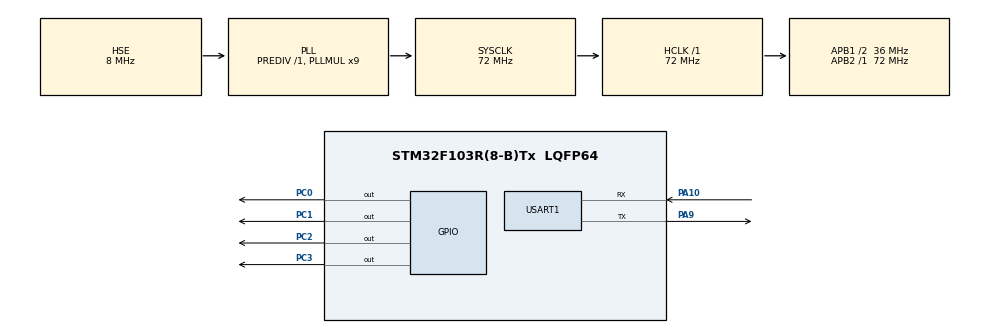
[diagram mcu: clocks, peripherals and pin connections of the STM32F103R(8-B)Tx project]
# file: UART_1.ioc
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Mcu.Family=STM32F1
Mcu.Name=STM32F103R(8-B)Tx
Mcu.Package=LQFP64
NVIC.PriorityGroup=NVIC_PRIORITYGROUP_4
NVIC.USART1_IRQn=true\:0\:0\:false\:false\:true\:true\:true\:true
PA10.Mode=Asynchronous
PA10.Signal=USART1_RX
PA13.Mode=Serial_Wire
PA13.Signal=SYS_JTMS-SWDIO
PA14.Mode=Serial_Wire
PA14.Signal=SYS_JTCK-SWCLK
PA9.Mode=Asynchronous
PA9.Signal=USART1_TX
PC0.PinState=GPIO_PIN_SET
PC0.Signal=GPIO_Output
PC1.PinState=GPIO_PIN_SET
PC1.Signal=GPIO_Output
PC2.PinState=GPIO_PIN_SET
PC2.Signal=GPIO_Output
PC3.PinState=GPIO_PIN_SET
PC3.Signal=GPIO_Output
PD0-OSC_IN.Mode=HSE-External-Oscillator
PD0-OSC_IN.Signal=RCC_OSC_IN
PD1-OSC_OUT.Mode=HSE-External-Oscillator
PD1-OSC_OUT.Signal=RCC_OSC_OUT
ProjectManager.HeapSize=0x200
ProjectManager.StackSize=0x400
ProjectManager.TargetToolchain=MDK-ARM V5.32
RCC.AHBFreq_Value=72000000
RCC.APB1CLKDivider=RCC_HCLK_DIV2
RCC.APB1Freq_Value=36000000
RCC.APB1TimFreq_Value=72000000
RCC.APB2Freq_Value=72000000
RCC.APB2TimFreq_Value=72000000
RCC.HCLKFreq_Value=72000000
RCC.PLLMUL=RCC_PLL_MUL9
RCC.PLLSourceVirtual=RCC_PLLSOURCE_HSE
RCC.SYSCLKFreq_VALUE=72000000
RCC.SYSCLKSource=RCC_SYSCLKSOURCE_PLLCLK
RCC.USBFreq_Value=72000000
USART1.VirtualMode=VM_ASYNC
board=custom

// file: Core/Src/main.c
/* USER CODE BEGIN Header */
/**
  ******************************************************************************
  * @file           : main.c
  * @brief          : Main program body
  ******************************************************************************
  * @attention
  *
  * Copyright (c) 2023 STMicroelectronics.
  * All rights reserved.
  *
  * This software is licensed under terms that can be found in the LICENSE file
  * in the root directory of this software component.
  * If no LICENSE file comes with this software, it is provided AS-IS.
  *
  ******************************************************************************
  */
/* USER CODE END Header */
#include "main.h"
#include "usart.h"
#include "gpio.h"
#include "stdio.h"
/* USER CODE BEGIN Includes */

int fputc(int ch,FILE *f)
{
HAL_UART_Transmit(&huart1,(uint8_t *)&ch,1,HAL_MAX_DELAY);//重定向哪个串口第一个就写huart几
return ch;
}

#define LED0_ON()  HAL_GPIO_WritePin (GPIOC ,GPIO_PIN_0 ,GPIO_PIN_RESET)
#define LED0_OFF() HAL_GPIO_WritePin (GPIOC ,GPIO_PIN_0 ,GPIO_PIN_SET)

#define LED1_ON()  HAL_GPIO_WritePin (GPIOC ,GPIO_PIN_1 ,GPIO_PIN_RESET)
#define LED1_OFF() HAL_GPIO_WritePin (GPIOC ,GPIO_PIN_1 ,GPIO_PIN_SET)

#define LED2_ON()  HAL_GPIO_WritePin (GPIOC ,GPIO_PIN_2 ,GPIO_PIN_RESET)
#define LED2_OFF() HAL_GPIO_WritePin (GPIOC ,GPIO_PIN_2 ,GPIO_PIN_SET)

#define LED3_ON()  HAL_GPIO_WritePin (GPIOC ,GPIO_PIN_3,GPIO_PIN_RESET)
#define LED3_OFF() HAL_GPIO_WritePin (GPIOC ,GPIO_PIN_3 ,GPIO_PIN_SET)

#define LED4_ON()  HAL_GPIO_WritePin (GPIOC ,GPIO_PIN_4 ,GPIO_PIN_RESET)
#define LED4_OFF() HAL_GPIO_WritePin (GPIOC ,GPIO_PIN_4 ,GPIO_PIN_SET)

#define LED5_ON()  HAL_GPIO_WritePin (GPIOC ,GPIO_PIN_5 ,GPIO_PIN_RESET)
#define LED5_OFF() HAL_GPIO_WritePin (GPIOC ,GPIO_PIN_5 ,GPIO_PIN_SET)

#define LED6_ON()  HAL_GPIO_WritePin (GPIOC ,GPIO_PIN_6 ,GPIO_PIN_RESET)
#define LED6_OFF() HAL_GPIO_WritePin (GPIOC ,GPIO_PIN_6 ,GPIO_PIN_SET)

#define LED7_ON()  HAL_GPIO_WritePin (GPIOC ,GPIO_PIN_7 ,GPIO_PIN_RESET)
#define LED7_OFF() HAL_GPIO_WritePin (GPIOC ,GPIO_PIN_7 ,GPIO_PIN_SET)

#define LED0_Tog() HAL_GPIO_TogglePin(GPIOC,GPIO_PIN_0)
#define LED1_Tog() HAL_GPIO_TogglePin(GPIOC,GPIO_PIN_1)
#define LED2_Tog() HAL_GPIO_TogglePin(GPIOC,GPIO_PIN_2)
#define LED3_Tog() HAL_GPIO_TogglePin(GPIOC,GPIO_PIN_3)
#define LED4_Tog() HAL_GPIO_TogglePin(GPIOC,GPIO_PIN_4)
#define LED5_Tog() HAL_GPIO_TogglePin(GPIOC,GPIO_PIN_5)
#define LED6_Tog() HAL_GPIO_TogglePin(GPIOC,GPIO_PIN_6)
#define LED7_Tog() HAL_GPIO_TogglePin(GPIOC,GPIO_PIN_7)

uint8_t Tx_str1[]="hello world!\r\n";
uint8_t Tx_str2[]="LED1!\r\n";
uint8_t Tx_str3[]="LED2!\r\n";
uint8_t Rx_dat=0;
void HAL_UART_RxCpltCallback(UART_HandleTypeDef *huart){
	if(huart->Instance==USART1 ){
		if(Rx_dat==0xa1){
			LED1_ON ();
			HAL_UART_Transmit(&huart1 ,Tx_str2 ,sizeof (Tx_str2),1000);
			LED1_OFF ();
			HAL_UART_Receive_IT(&huart1 ,&Rx_dat,1);
		}
		else if(Rx_dat==0xa2){
			LED2_ON ();
			HAL_UART_Transmit(&huart1 ,Tx_str3 ,sizeof (Tx_str3),1000);
			LED2_OFF ();
			HAL_UART_Receive_IT(&huart1 ,&Rx_dat,1);
		}
	}
	HAL_UART_Receive_IT(&huart1 ,&Rx_dat,1);
}

/* USER CODE END Includes */

void SystemClock_Config(void);

int main(void)
{

  /* MCU Configuration--------------------------------------------------------*/

  /* Reset of all peripherals, Initializes the Flash interface and the Systick. */
  HAL_Init();

  /* Configure the system clock */
  SystemClock_Config();

  /* Initialize all configured peripherals */
  MX_GPIO_Init();
  MX_USART1_UART_Init();
  /* USER CODE BEGIN 2 */
  LED1_ON ();
  //HAL_UART_Transmit(&huart1 ,Tx_str1,sizeof (Tx_str1),10000);
  printf ("hello world!");
  LED1_OFF ();
  HAL_UART_Receive_IT(&huart1 ,&Rx_dat,1);

  /* USER CODE END 2 */

  /* Infinite loop */
  while (1)
  {

  }
}

void SystemClock_Config(void)
{
  RCC_OscInitTypeDef RCC_OscInitStruct = {0};
  RCC_ClkInitTypeDef RCC_ClkInitStruct = {0};

  /** Initializes the RCC Oscillators according to the specified parameters
  * in the RCC_OscInitTypeDef structure.
  */
  RCC_OscInitStruct.OscillatorType = RCC_OSCILLATORTYPE_HSE;
  RCC_OscInitStruct.HSEState = RCC_HSE_ON;
  RCC_OscInitStruct.HSEPredivValue = RCC_HSE_PREDIV_DIV1;
  RCC_OscInitStruct.HSIState = RCC_HSI_ON;
  RCC_OscInitStruct.PLL.PLLState = RCC_PLL_ON;
  RCC_OscInitStruct.PLL.PLLSource = RCC_PLLSOURCE_HSE;
  RCC_OscInitStruct.PLL.PLLMUL = RCC_PLL_MUL9;
  if (HAL_RCC_OscConfig(&RCC_OscInitStruct) != HAL_OK)
  {
    Error_Handler();
  }

  /** Initializes the CPU, AHB and APB buses clocks
  */
  RCC_ClkInitStruct.ClockType = RCC_CLOCKTYPE_HCLK|RCC_CLOCKTYPE_SYSCLK
                              |RCC_CLOCKTYPE_PCLK1|RCC_CLOCKTYPE_PCLK2;
  RCC_ClkInitStruct.SYSCLKSource = RCC_SYSCLKSOURCE_PLLCLK;
  RCC_ClkInitStruct.AHBCLKDivider = RCC_SYSCLK_DIV1;
  RCC_ClkInitStruct.APB1CLKDivider = RCC_HCLK_DIV2;
  RCC_ClkInitStruct.APB2CLKDivider = RCC_HCLK_DIV1;

  if (HAL_RCC_ClockConfig(&RCC_ClkInitStruct, FLASH_LATENCY_2) != HAL_OK)
  {
    Error_Handler();
  }
}

void Error_Handler(void)
{
  __disable_irq();
  while (1)
  {
  }
}
